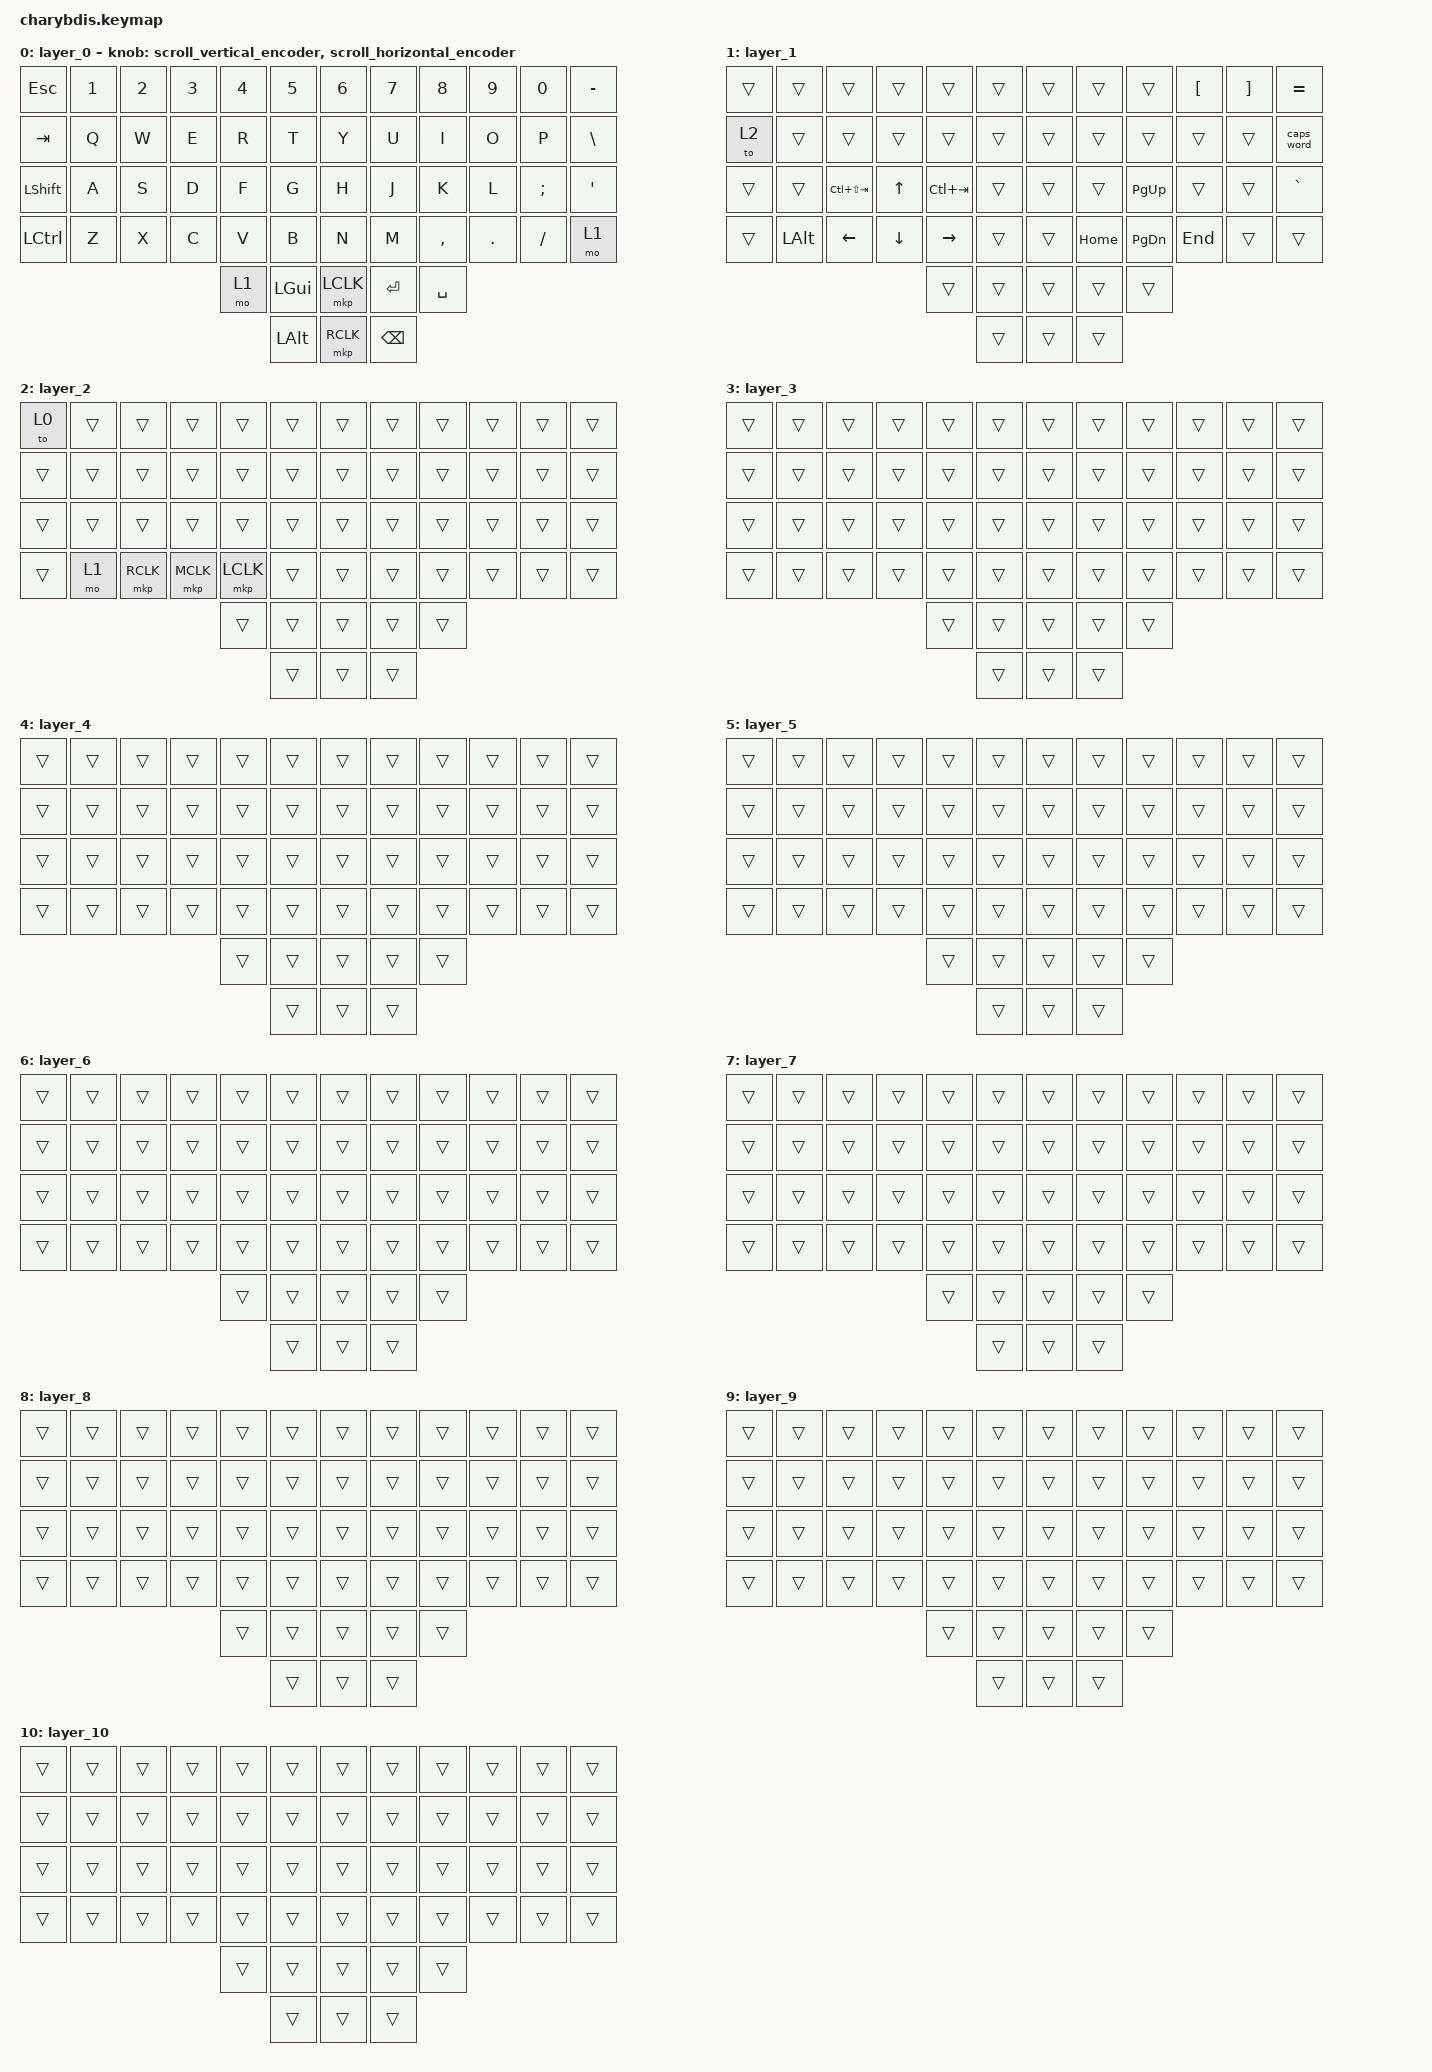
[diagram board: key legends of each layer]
#include <input/processors.dtsi>
#include <zephyr/dt-bindings/input/input-event-codes.h>
#include <behaviors.dtsi>
#include <dt-bindings/zmk/bt.h>
#include <dt-bindings/zmk/keys.h>
#include <dt-bindings/zmk/rgb.h>
#include <dt-bindings/zmk/input_transform.h>

#define ZMK_POINTING_DEFAULT_MOVE_VAL 1000 // 600
#define ZMK_POINTING_DEFAULT_SCRL_VAL 12   // 10
#include <dt-bindings/zmk/mouse.h>
#include <dt-bindings/zmk/pointing.h>

&lt {
    tapping-term-ms = <200>;
    flavor = "balanced";
    quick-tap-ms = <150>;
};

&mmv_input_listener { input-processors = <&zip_xy_scaler 16 1>; };

&msc_input_listener { input-processors =
                          <&zip_scroll_scaler 2 1>,
                          <&zip_scroll_transform (INPUT_TRANSFORM_Y_INVERT | INPUT_TRANSFORM_X_INVERT)>;
};

&msc {
    acceleration-exponent = <0>;      // 0
    time-to-max-speed-ms = <100>;       // 300
    delay-ms = <0>;                   // 0
};

&mmv {
    time-to-max-speed-ms = <10>;
    acceleration-exponent = <2>;
    trigger-period-ms = <16>;
};

/ {
    // 上下滚动编码器行为

    scroll_vertical_encoder: scroll_vertical_encoder {
        compatible = "zmk,behavior-sensor-rotate";
        #sensor-binding-cells = <0>;
        bindings = <&msc SCRL_DOWN>, <&msc SCRL_UP>;

        tap-ms = <100>;
    };

    // 左右滚动编码器行为

    scroll_horizontal_encoder: scroll_horizontal_encoder {
        compatible = "zmk,behavior-sensor-rotate";
        #sensor-binding-cells = <0>;
        bindings = <&msc SCRL_LEFT>, <&msc SCRL_RIGHT>;

        tap-ms = <100>;
    };

    behaviors {
    };

    macros {
        To1_macro: To1_macro {
            compatible = "zmk,behavior-macro";
            label = "To1_macro";
            #binding-cells = <0>;
            bindings = <&rgb_ug RGB_EFF &rgb_ug RGB_COLOR_HSB(128,100,50) &to 1>;
        };

        To1_macro_A: To1_macro_A {
            compatible = "zmk,behavior-macro";
            label = "To1_macro_A";
            #binding-cells = <0>;
            bindings = <&rgb_ug RGB_COLOR_HSB(128,100,50) &to 1>;
        };

        To0_macro: To0_macro {
            compatible = "zmk,behavior-macro";
            label = "To0_macro";
            #binding-cells = <0>;
            bindings = <&rgb_ug RGB_EFR &to 0>;
        };

        To2_macro_A: To2_macro_A {
            compatible = "zmk,behavior-macro";
            label = "To2_macro_A";
            #binding-cells = <0>;
            bindings = <&rgb_ug RGB_COLOR_HSB(250,100,50) &to 2>;
        };

        To2_macro: To2_macro {
            compatible = "zmk,behavior-macro";
            label = "To2_macro";
            #binding-cells = <0>;
            bindings = <&rgb_ug RGB_EFF &rgb_ug RGB_COLOR_HSB(250,100,50) &to 2>;
        };
    };

    keymap {
        compatible = "zmk,keymap";

        layer_0 {
            bindings = <
&kp ESC         &kp N1  &kp N2  &kp N3  &kp N4  &kp N5          &kp N6     &kp N7         &kp N8     &kp N9      &kp N0    &kp MINUS
&kp TAB         &kp Q   &kp W   &kp E   &kp R   &kp T           &kp Y      &kp U          &kp I      &kp O       &kp P     &kp BSLH
&kp LEFT_SHIFT  &kp A   &kp S   &kp D   &kp F   &kp G           &kp H      &kp J          &kp K      &kp L       &kp SEMI  &kp SQT
&kp LCTRL       &kp Z   &kp X   &kp C   &kp V   &kp B           &kp N      &kp M          &kp COMMA  &kp PERIOD  &kp FSLH  &mo 1
                                        &mo 1   &kp LEFT_GUI    &mkp LCLK  &kp ENTER      &kp SPACE
                                                &kp LEFT_ALT    &mkp RCLK  &kp BACKSPACE
            >;

            sensor-bindings =
                <&scroll_vertical_encoder>,
                // 编码器1：上下滚动,,
                <&scroll_horizontal_encoder>;

            // 编码器2：左右滚动
        };

        layer_1 {
            bindings = <
&trans  &trans        &trans           &trans    &trans       &trans    &trans  &trans    &trans     &kp LBKT  &kp RBKT  &kp EQUAL
&to 2   &trans        &trans           &trans    &trans       &trans    &trans  &trans    &trans     &trans    &trans    &caps_word
&trans  &trans        &kp LC(LS(TAB))  &kp UP    &kp LC(TAB)  &trans    &trans  &trans    &kp PG_UP  &trans    &trans    &kp GRAVE
&trans  &kp LEFT_ALT  &kp LEFT         &kp DOWN  &kp RIGHT    &trans    &trans  &kp HOME  &kp PG_DN  &kp END   &trans    &trans
                                                 &trans       &trans    &trans  &trans    &trans
                                                              &trans    &trans  &trans
            >;
        };

        layer_2 {
            bindings = <
&to 0   &trans  &trans     &trans     &trans     &trans    &trans  &trans  &trans  &trans  &trans  &trans
&trans  &trans  &trans     &trans     &trans     &trans    &trans  &trans  &trans  &trans  &trans  &trans
&trans  &trans  &trans     &trans     &trans     &trans    &trans  &trans  &trans  &trans  &trans  &trans
&trans  &mo 1   &mkp RCLK  &mkp MCLK  &mkp LCLK  &trans    &trans  &trans  &trans  &trans  &trans  &trans
                                      &trans     &trans    &trans  &trans  &trans
                                                 &trans    &trans  &trans
            >;
        };

        layer_3 {
            bindings = <
&trans  &trans  &trans  &trans  &trans  &trans    &trans  &trans  &trans  &trans  &trans  &trans
&trans  &trans  &trans  &trans  &trans  &trans    &trans  &trans  &trans  &trans  &trans  &trans
&trans  &trans  &trans  &trans  &trans  &trans    &trans  &trans  &trans  &trans  &trans  &trans
&trans  &trans  &trans  &trans  &trans  &trans    &trans  &trans  &trans  &trans  &trans  &trans
                                &trans  &trans    &trans  &trans  &trans
                                        &trans    &trans  &trans
            >;
        };

        layer_4 {
            bindings = <
&trans  &trans  &trans  &trans  &trans  &trans    &trans  &trans  &trans  &trans  &trans  &trans
&trans  &trans  &trans  &trans  &trans  &trans    &trans  &trans  &trans  &trans  &trans  &trans
&trans  &trans  &trans  &trans  &trans  &trans    &trans  &trans  &trans  &trans  &trans  &trans
&trans  &trans  &trans  &trans  &trans  &trans    &trans  &trans  &trans  &trans  &trans  &trans
                                &trans  &trans    &trans  &trans  &trans
                                        &trans    &trans  &trans
            >;
        };

        layer_5 {
            bindings = <
&trans  &trans  &trans  &trans  &trans  &trans    &trans  &trans  &trans  &trans  &trans  &trans
&trans  &trans  &trans  &trans  &trans  &trans    &trans  &trans  &trans  &trans  &trans  &trans
&trans  &trans  &trans  &trans  &trans  &trans    &trans  &trans  &trans  &trans  &trans  &trans
&trans  &trans  &trans  &trans  &trans  &trans    &trans  &trans  &trans  &trans  &trans  &trans
                                &trans  &trans    &trans  &trans  &trans
                                        &trans    &trans  &trans
            >;
        };

        layer_6 {
            bindings = <
&trans  &trans  &trans  &trans  &trans  &trans    &trans  &trans  &trans  &trans  &trans  &trans
&trans  &trans  &trans  &trans  &trans  &trans    &trans  &trans  &trans  &trans  &trans  &trans
&trans  &trans  &trans  &trans  &trans  &trans    &trans  &trans  &trans  &trans  &trans  &trans
&trans  &trans  &trans  &trans  &trans  &trans    &trans  &trans  &trans  &trans  &trans  &trans
                                &trans  &trans    &trans  &trans  &trans
                                        &trans    &trans  &trans
            >;
        };

        layer_7 {
            bindings = <
&trans  &trans  &trans  &trans  &trans  &trans    &trans  &trans  &trans  &trans  &trans  &trans
&trans  &trans  &trans  &trans  &trans  &trans    &trans  &trans  &trans  &trans  &trans  &trans
&trans  &trans  &trans  &trans  &trans  &trans    &trans  &trans  &trans  &trans  &trans  &trans
&trans  &trans  &trans  &trans  &trans  &trans    &trans  &trans  &trans  &trans  &trans  &trans
                                &trans  &trans    &trans  &trans  &trans
                                        &trans    &trans  &trans
            >;
        };

        layer_8 {
            bindings = <
&trans  &trans  &trans  &trans  &trans  &trans    &trans  &trans  &trans  &trans  &trans  &trans
&trans  &trans  &trans  &trans  &trans  &trans    &trans  &trans  &trans  &trans  &trans  &trans
&trans  &trans  &trans  &trans  &trans  &trans    &trans  &trans  &trans  &trans  &trans  &trans
&trans  &trans  &trans  &trans  &trans  &trans    &trans  &trans  &trans  &trans  &trans  &trans
                                &trans  &trans    &trans  &trans  &trans
                                        &trans    &trans  &trans
            >;
        };

        layer_9 {
            bindings = <
&trans  &trans  &trans  &trans  &trans  &trans    &trans  &trans  &trans  &trans  &trans  &trans
&trans  &trans  &trans  &trans  &trans  &trans    &trans  &trans  &trans  &trans  &trans  &trans
&trans  &trans  &trans  &trans  &trans  &trans    &trans  &trans  &trans  &trans  &trans  &trans
&trans  &trans  &trans  &trans  &trans  &trans    &trans  &trans  &trans  &trans  &trans  &trans
                                &trans  &trans    &trans  &trans  &trans
                                        &trans    &trans  &trans
            >;
        };

        layer_10 {
            bindings = <
&trans  &trans  &trans  &trans  &trans  &trans    &trans  &trans  &trans  &trans  &trans  &trans
&trans  &trans  &trans  &trans  &trans  &trans    &trans  &trans  &trans  &trans  &trans  &trans
&trans  &trans  &trans  &trans  &trans  &trans    &trans  &trans  &trans  &trans  &trans  &trans
&trans  &trans  &trans  &trans  &trans  &trans    &trans  &trans  &trans  &trans  &trans  &trans
                                &trans  &trans    &trans  &trans  &trans
                                        &trans    &trans  &trans
            >;
        };

        /* layer_2 {
            bindings = <
&none  &none   &none    &none   &none         &none         &kp N1         &none         &none     &none  &none   &to 0
&none  &none   &none    &none   &none         &none         &none         &none          &rgb_ug RGB_BRD &rgb_ug RGB_BRI  &rgb_ug RGB_EFF   &rgb_ug RGB_TOG
&none  &none   &none    &none   &none         &none         &none         &mkp LCLK     &mkp RCLK  &none  &none   &none
&none  &none   &none    &none   &bt BT_NXT  &bt BT_CLR    &none         &none         &none     &none  &none   &none
                                   &none         &none         &none         &none         &none
                                                 &none         &none         &none
            >;


        };

       Mouse {
            bindings = <
&none        &none         &none         &none         &none      &none         &none       &none      &none         &none         &none         &none
&none        &bt BT_SEL 0  &bt BT_SEL 1  &bt BT_SEL 3  &none      &bt BT_CLR    &bt BT_CLR  &none      &bt BT_SEL 2  &bt BT_SEL 1  &bt BT_SEL 0  &none
&none        &trans        &trans        &mkp MCLK     &trans     &none         &none       &trans     &mkp MCLK     &trans        &trans        &none
&bootloader  &trans        &mkp RCLK     &mo 4         &mkp LCLK  &mo 5         &mo 5       &mkp LCLK  &mo 4         &mkp RCLK     &trans        &bootloader
                                         &mo 5         &mkp LCLK  &mkp RCLK     &mkp RCLK   &mkp LCLK
                                                       &none      &trans        &trans
            >;


        };

        layer_4 {
            bindings = <
&trans  &trans  &trans     &trans     &trans     &trans       &trans     &trans     &trans     &trans     &trans  &trans
&trans  &trans  &trans     &trans     &trans     &trans       &trans     &trans     &trans     &trans     &trans  &trans
&trans  &trans  &trans     &mkp MCLK  &trans     &trans       &trans     &trans     &mkp MCLK  &trans     &trans  &trans
&trans  &trans  &mkp RCLK  &trans     &mkp LCLK  &trans       &trans     &mkp LCLK  &trans     &mkp RCLK  &trans  &trans
                           &trans     &mkp LCLK  &mkp RCLK    &mkp RCLK  &mkp LCLK
                                      &trans     &trans       &trans
            >;



        };

        layer_5 {
            bindings = <
&trans  &trans  &trans     &trans     &trans     &trans       &trans     &trans     &trans     &trans     &trans  &trans
&trans  &trans  &trans     &trans     &trans     &trans       &trans     &trans     &trans     &trans     &trans  &trans
&trans  &trans  &trans     &mkp MCLK  &trans     &trans       &trans     &trans     &mkp MCLK  &trans     &trans  &trans
&trans  &trans  &mkp RCLK  &trans     &mkp LCLK  &trans       &trans     &mkp LCLK  &trans     &mkp RCLK  &trans  &trans
                           &trans     &mkp LCLK  &mkp RCLK    &mkp RCLK  &mkp LCLK
                                      &trans     &trans       &trans
            >;


        };*/
    };
};

